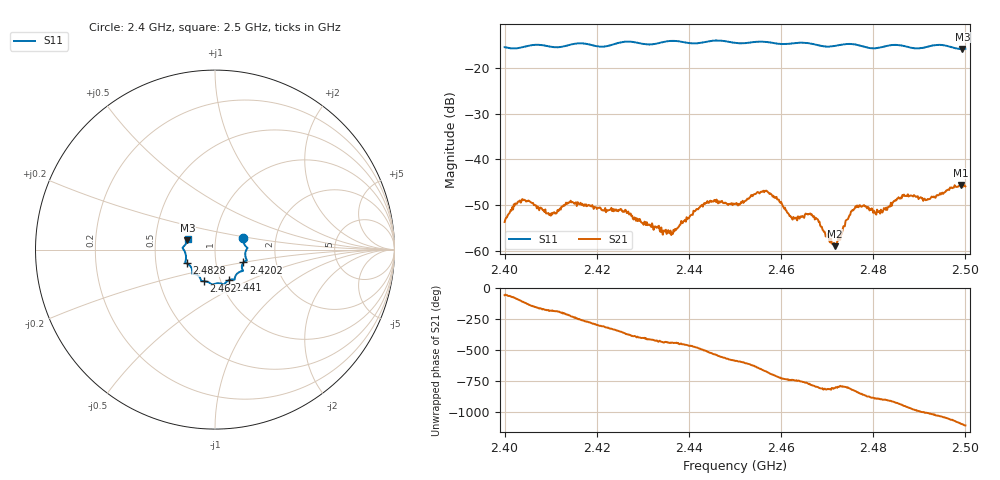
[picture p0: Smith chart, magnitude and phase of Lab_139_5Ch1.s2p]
# Hz S RI R
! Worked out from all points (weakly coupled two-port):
!   601 points, 2.4 GHz to 2.5 GHz, reference 50 ohm
!   highest |S21| = -45.61 dB at 2.499 GHz (marker M1); lowest = -59.0 dB at 2.4717 GHz (marker M2)
!   lowest |S11| = -15.8 dB at 2.4993 GHz (marker M3), VSWR 1.39, Z = 36.5 + j3.85 ohm
!   |S11| at or under -10 dB: start of sweep to end of sweep
!   S12 and S22 are empty: the file has one direction only
!   S11 on the Smith chart (normalised r, x): 2.4 GHz: 1.36, +0.18; 2.4202 GHz: 1.36, -0.20; 2.441 GHz: 1.10, -0.39; 2.462 GHz: 0.84, -0.30; 2.4828 GHz: 0.72, -0.11; 2.5 GHz: 0.73, +0.09
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2.4e9  0.1583 0.0627  0.00118 -0.00168  0 0  0 0
2.403833e9  0.1687 0.0214  -0.00116 -0.00348  0 0  0 0
2.409833e9  0.1728 -0.00491  -0.0025 9.74e-06  0 0  0 0
2.416667e9  0.1775 -0.0605  -0.000778 0.00307  0 0  0 0
2.420167e9  0.1585 -0.0714  0.00122 0.00263  0 0  0 0
2.433333e9  0.1118 -0.1509  0.000598 -0.00168  0 0  0 0
2.436333e9  0.1089 -0.1673  0.000341 -0.00152  0 0  0 0
2.441e9  0.0786 -0.1699  -0.000996 -0.00255  0 0  0 0
2.445167e9  0.052 -0.1934  -0.0034 -0.000677  0 0  0 0
2.45e9  0.0284 -0.1877  -0.00232 0.00231  0 0  0 0
2.456667e9  -0.0186 -0.1935  0.00284 0.00351  0 0  0 0
2.462e9  -0.0603 -0.1759  0.00227 -0.000788  0 0  0 0
2.466667e9  -0.0788 -0.1681  0.00118 -0.0022  0 0  0 0
2.471667e9  -0.1103 -0.1365  8.94e-05 -0.00111  0 0  0 0
2.476e9  -0.1271 -0.1307  -0.000875 -0.00277  0 0  0 0
2.482833e9  -0.1575 -0.0768  -0.00296 5.72e-05  0 0  0 0
2.483333e9  -0.1605 -0.0754  -0.003 0.000262  0 0  0 0
2.486833e9  -0.1635 -0.0611  -0.00263 0.00298  0 0  0 0
2.491833e9  -0.1724 -0.00355  0.001 0.00354  0 0  0 0
2.499e9  -0.1557 0.0466  0.00513 -0.00108  0 0  0 0
2.499333e9  -0.154 0.0513  0.00503 -0.00145  0 0  0 0
2.5e9  -0.1523 0.0609  0.00455 -0.00223  0 0  0 0
